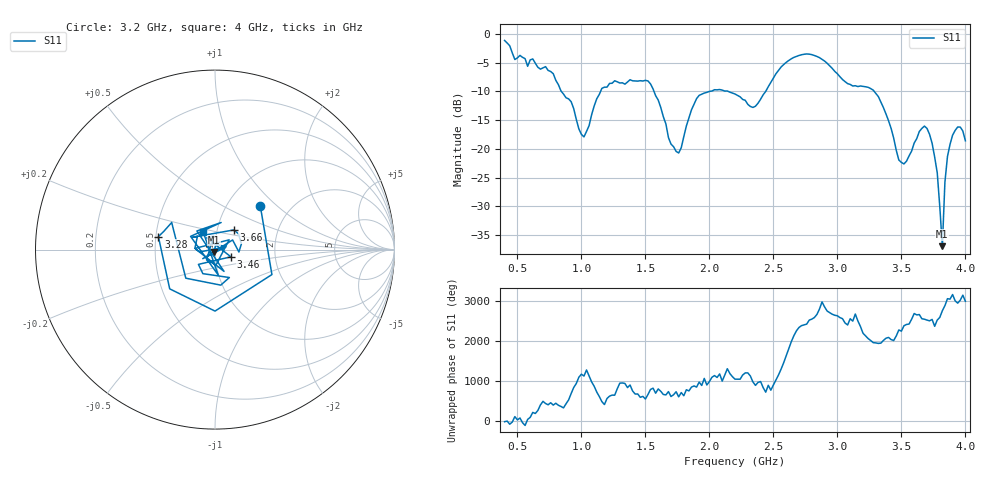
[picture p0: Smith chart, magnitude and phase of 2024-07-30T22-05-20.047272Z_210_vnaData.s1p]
!Created with skrf (http://scikit-rf.org).
# Hz S RI R 50.0
!freq ReS11 ImS11
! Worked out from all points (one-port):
!   181 points, 400 MHz to 4 GHz, reference 50 ohm
!   lowest |S11| = -36.9 dB at 3.82 GHz (marker M1), VSWR 1.03, Z = 49.4 - j1.29 ohm
!   |S11| at or under -10 dB: 842.9 MHz to 1.15 GHz (307.3 MHz wide, 30.8 % of centre); 1.567 GHz to 2.005 GHz (438.1 MHz wide, 24.5 % of centre); 3.287 GHz to end of sweep (the widest 3 of 4)
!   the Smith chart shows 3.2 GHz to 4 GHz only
!   S11 on the Smith chart (normalised r, x): 3.2 GHz: 1.42, +0.78; 3.28 GHz: 0.52, +0.08; 3.46 GHz: 1.19, -0.10; 3.66 GHz: 1.20, +0.27; 4 GHz: 0.86, +0.17
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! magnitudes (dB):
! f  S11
! 400 MHz  -1.2
! 480 MHz  -4.5
! 720 MHz  -5.7
! 860 MHz  -10.5
! 1.02 GHz  -17.9
! 1.16 GHz  -9.5
! 1.3 GHz  -8.6
! 1.54 GHz  -8.7
! 1.76 GHz  -20.7
! 1.92 GHz  -10.7
! 2.2 GHz  -10.5
! 2.36 GHz  -12.6
! 2.66 GHz  -4.1
! 2.86 GHz  -4.2
! 3.1 GHz  -8.8
! 3.2 GHz  -9.1
! 3.28 GHz  -9.8
! 3.46 GHz  -20.3
! 3.56 GHz  -21.2
! 3.66 GHz  -16.4
! 3.7 GHz  -16.4
! 3.76 GHz  -21.4
! 3.78 GHz  -24.1
! 3.82 GHz  -36.9
! 3.84 GHz  -25.8
! 3.88 GHz  -19.2
! 3.94 GHz  -16.2
! 4 GHz  -18.6
